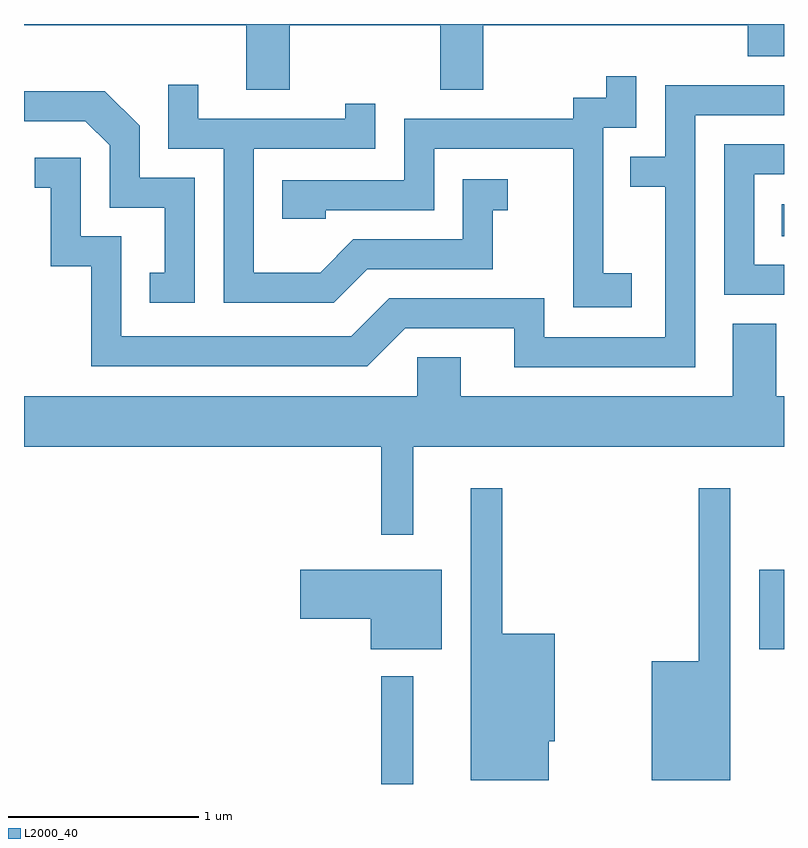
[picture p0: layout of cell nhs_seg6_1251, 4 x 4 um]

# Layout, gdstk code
import gdstk
lib = gdstk.Library(unit=1e-6, precision=1e-09)
def R(c, l, rs):  # rectangles x0, y0, x1, y1
    for r in rs: c.add(gdstk.rectangle(r[:2], r[2:], *l))
def P(c, l, *ps):  # polygons
    for p in ps: c.add(gdstk.Polygon(p, *l))
L2000_40 = (2000, 40)

nhs_seg6_1251 = lib.new_cell('nhs_seg6_1251')
R(nhs_seg6_1251, L2000_40, [(223.491,1648.162,223.659,1648.728), (225.481,1648.871,225.611,1649.289), (225.598,1651.046,225.611,1651.214)])
P(nhs_seg6_1251, L2000_40, [(223.009,1652.156),(223.801,1652.156),(223.801,1651.816),(224.029,1651.816),(224.029,1652.156),(225.421,1652.156),(225.421,1651.991),(225.611,1651.991),(225.611,1652.162),(221.611,1652.162),(221.611,1652.156),(222.781,1652.156),(222.781,1651.816),(223.009,1651.816)],
  [(224.809,1650.849),(224.659,1650.849),(224.659,1651.616),(224.834,1651.616),(224.834,1651.888),(224.676,1651.888),(224.676,1651.774),(224.501,1651.774),(224.501,1651.664),(223.611,1651.664),(223.611,1651.339),(222.971,1651.339),(222.971,1651.136),(223.199,1651.136),(223.199,1651.181),(223.769,1651.181),(223.769,1651.506),(224.501,1651.506),(224.501,1650.671),(224.809,1650.671)],
  [(223.417,1650.871),(224.079,1650.871),(224.079,1651.181),(224.158,1651.181),(224.158,1651.344),(223.921,1651.344),(223.921,1651.029),(223.344,1651.029),(223.169,1650.854),(222.819,1650.854),(222.819,1651.506),(223.459,1651.506),(223.459,1651.743),(223.301,1651.743),(223.301,1651.664),(222.529,1651.664),(222.529,1651.843),(222.371,1651.843),(222.371,1651.506),(222.661,1651.506),(222.661,1650.696),(223.242,1650.696)],
  [(225.144,1651.681),(225.611,1651.681),(225.611,1651.839),(224.986,1651.839),(224.986,1651.464),(224.803,1651.464),(224.803,1651.306),(224.986,1651.306),(224.986,1650.514),(224.349,1650.514),(224.349,1650.719),(223.534,1650.719),(223.334,1650.519),(222.124,1650.519),(222.124,1651.044),(221.909,1651.044),(221.909,1651.459),(221.668,1651.459),(221.668,1651.301),(221.751,1651.301),(221.751,1650.886),(221.966,1650.886),(221.966,1650.361),(223.417,1650.361),(223.617,1650.561),(224.191,1650.561),(224.191,1650.356),(225.144,1650.356)],
  [(222.509,1651.354),(222.219,1651.354),(222.219,1651.627),(222.037,1651.809),(221.611,1651.809),(221.611,1651.651),(221.934,1651.651),(222.061,1651.524),(222.061,1651.196),(222.351,1651.196),(222.351,1650.854),(222.273,1650.854),(222.273,1650.696),(222.509,1650.696)],
  [(225.611,1650.894),(225.454,1650.894),(225.454,1651.371),(225.611,1651.371),(225.611,1651.529),(225.296,1651.529),(225.296,1650.736),(225.611,1650.736)],
  [(223.659,1649.936),(225.611,1649.936),(225.611,1650.204),(225.569,1650.204),(225.569,1650.584),(225.341,1650.584),(225.341,1650.204),(223.909,1650.204),(223.909,1650.409),(223.681,1650.409),(223.681,1650.204),(221.611,1650.204),(221.611,1649.936),(223.491,1649.936),(223.491,1649.473),(223.659,1649.473)],
  [(224.374,1648.386),(224.404,1648.386),(224.404,1648.954),(224.129,1648.954),(224.129,1649.718),(223.961,1649.718),(223.961,1648.181),(224.374,1648.181)],
  [(225.329,1649.718),(225.161,1649.718),(225.161,1648.809),(224.916,1648.809),(224.916,1648.181),(225.329,1648.181)],
  [(223.809,1649.289),(223.066,1649.289),(223.066,1649.031),(223.436,1649.031),(223.436,1648.871),(223.809,1648.871)])

lib.write_gds('nhs_seg6_1251.gds')
